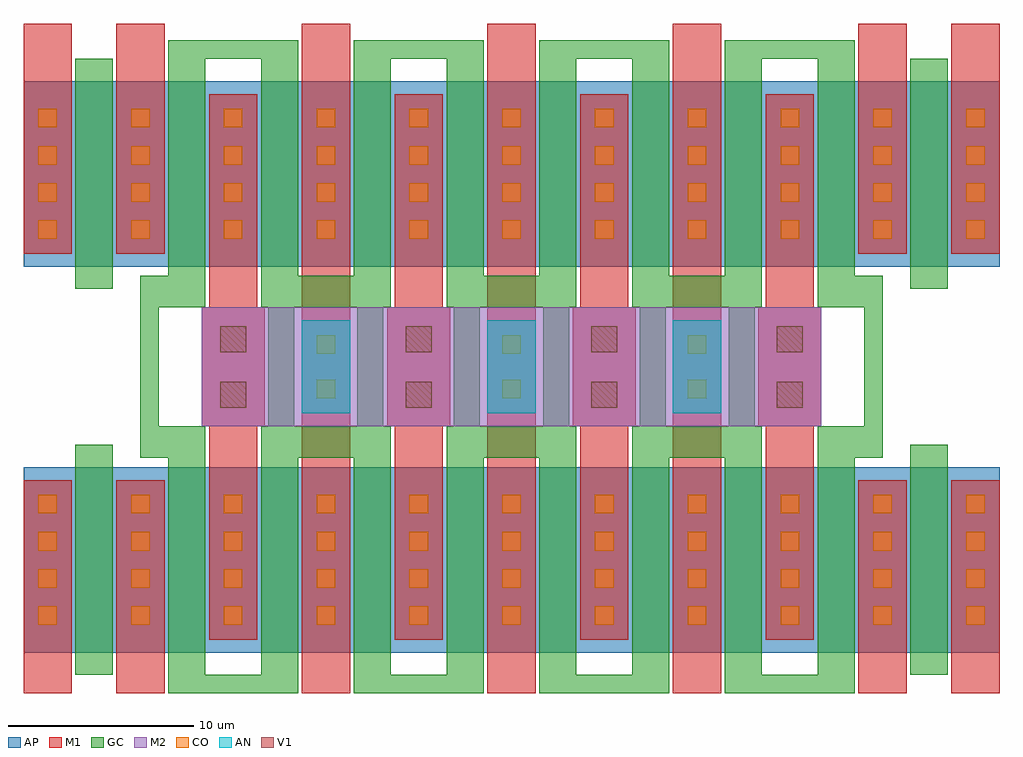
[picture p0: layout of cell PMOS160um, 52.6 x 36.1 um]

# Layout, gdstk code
import gdstk
lib = gdstk.Library(unit=1e-6, precision=1e-09)
def R(c, l, rs):  # rectangles x0, y0, x1, y1
    for r in rs: c.add(gdstk.rectangle(r[:2], r[2:], *l))
def A(c, l, x, y, w, h, nx, ny, dx, dy):  # array of equal rectangles
    R(c, l, [(x+i*dx, y+j*dy, x+i*dx+w, y+j*dy+h) for i in range(nx) for j in range(ny)])
AP = (3, 1)
AN = (3, 2)
GC = (8, 1)
CO = (11, 0)
M1 = (13, 0)
V1 = (19, 0)
M2 = (20, 0)

fet_p_2 = lib.new_cell('fet_p$2')
R(fet_p_2, AP, [(-3.8,-5,3.8,5)])
A(fet_p_2, CO, -3, -3.5, 1, 1, 1, 4, 0, 2)
A(fet_p_2, CO, 2, -3.5, 1, 1, 1, 4, 0, 2)
R(fet_p_2, M1, [(-3.8,-4.3,-1.2,4.3), (1.2,-4.3,3.8,4.3)])
fet_p_2.add(gdstk.FlexPath([(0,-6.2),(0,6.2)], 2, ends="flush", simple_path=True, layer=8, datatype=1))  # GC

fet_p_3 = lib.new_cell('fet_p$3')
R(fet_p_3, AP, [(-21.3,-5,21.3,5)])
A(fet_p_3, CO, -20.5, -3.5, 1, 1, 9, 4, 5, 2)
A(fet_p_3, M1, -21.3, -4.3, 2.6, 8.6, 9, 1, 5, 0)
fet_p_3.add(gdstk.FlexPath([(2.5,-6.2),(2.5,6.2)], 2, ends="flush", simple_path=True, layer=8, datatype=1))  # GC
fet_p_3.add(gdstk.FlexPath([(-2.5,-6.2),(-2.5,6.2)], 2, ends="flush", simple_path=True, layer=8, datatype=1))  # GC
fet_p_3.add(gdstk.FlexPath([(7.5,-6.2),(7.5,6.2)], 2, ends="flush", simple_path=True, layer=8, datatype=1))  # GC
fet_p_3.add(gdstk.FlexPath([(-7.5,-6.2),(-7.5,6.2)], 2, ends="flush", simple_path=True, layer=8, datatype=1))  # GC
fet_p_3.add(gdstk.FlexPath([(12.5,-6.2),(12.5,6.2)], 2, ends="flush", simple_path=True, layer=8, datatype=1))  # GC
fet_p_3.add(gdstk.FlexPath([(-12.5,-6.2),(-12.5,6.2)], 2, ends="flush", simple_path=True, layer=8, datatype=1))  # GC
fet_p_3.add(gdstk.FlexPath([(17.5,-6.2),(17.5,6.2)], 2, ends="flush", simple_path=True, layer=8, datatype=1))  # GC
fet_p_3.add(gdstk.FlexPath([(-17.5,-6.2),(-17.5,6.2)], 2, ends="flush", simple_path=True, layer=8, datatype=1))  # GC

via_1_1 = lib.new_cell('via_1$1')
R(via_1_1, M1, [(-1.7,-1.7,1.7,1.7)])
R(via_1_1, V1, [(-0.7,-0.7,0.7,0.7)])
R(via_1_1, M2, [(-1.7,-1.7,1.7,1.7)])

cont_n = lib.new_cell('cont_n')
R(cont_n, AN, [(-1.3,-1.3,1.3,1.3)])
R(cont_n, CO, [(-0.5,-0.5,0.5,0.5)])
R(cont_n, M1, [(-1.3,-1.3,1.3,1.3)])

pmos160um = lib.new_cell('PMOS160um')
A(pmos160um, GC, -38.5, -17.6, 7, 1, 4, 2, 10, 34.2)
A(pmos160um, GC, -33.5, -4.9, 7, 1.7, 3, 2, 10, 8.1)
R(pmos160um, GC, [(-40,-4.9,-36.5,-3.2), (-3.5,-4.9,0,-3.2), (-40,3.2,-36.5,4.9), (-3.5,3.2,0,4.9)])
pmos160um.add(gdstk.FlexPath([(0,-17.6),(0,-14.7)], 2.6, ends="flush", simple_path=True, layer=13, datatype=0))  # M1
pmos160um.add(gdstk.FlexPath([(5,-17.6),(5,-14.7)], 2.6, ends="flush", simple_path=True, layer=13, datatype=0))  # M1
pmos160um.add(gdstk.FlexPath([(0,18.5),(0,14.7)], 2.6, ends="flush", simple_path=True, layer=13, datatype=0))  # M1
pmos160um.add(gdstk.FlexPath([(5,14.7),(5,18.5)], 2.6, ends="flush", simple_path=True, layer=13, datatype=0))  # M1
pmos160um.add(gdstk.FlexPath([(-10,-17.6),(-10,-14.7)], 2.6, ends="flush", simple_path=True, layer=13, datatype=0))  # M1
pmos160um.add(gdstk.FlexPath([(-30,-17.6),(-30,-14.7)], 2.6, ends="flush", simple_path=True, layer=13, datatype=0))  # M1
pmos160um.add(gdstk.FlexPath([(-20,-17.6),(-20,-14.7)], 2.6, ends="flush", simple_path=True, layer=13, datatype=0))  # M1
pmos160um.add(gdstk.FlexPath([(-45,-17.6),(-45,-14.7)], 2.6, ends="flush", simple_path=True, layer=13, datatype=0))  # M1
pmos160um.add(gdstk.FlexPath([(-40,-17.6),(-40,-14.7)], 2.6, ends="flush", simple_path=True, layer=13, datatype=0))  # M1
pmos160um.add(gdstk.FlexPath([(0,-17.6),(0,-14.7)], 2.6, ends="flush", simple_path=True, layer=13, datatype=0))  # M1
pmos160um.add(gdstk.FlexPath([(-10,-6.1),(-10,-2.5),(-10,-2.5)], 2.6, ends="flush", simple_path=True, layer=13, datatype=0))  # M1
pmos160um.add(gdstk.FlexPath([(-10,2.5),(-10,6.1)], 2.6, ends="flush", simple_path=True, layer=13, datatype=0))  # M1
pmos160um.add(gdstk.FlexPath([(-20,-6.1),(-20,-2.5),(-20,-2.5)], 2.6, ends="flush", simple_path=True, layer=13, datatype=0))  # M1
pmos160um.add(gdstk.FlexPath([(-20,2.5),(-20,6.1)], 2.6, ends="flush", simple_path=True, layer=13, datatype=0))  # M1
pmos160um.add(gdstk.FlexPath([(-30,-6.1),(-30,-2.5),(-30,-2.5)], 2.6, ends="flush", simple_path=True, layer=13, datatype=0))  # M1
pmos160um.add(gdstk.FlexPath([(-30,2.5),(-30,6.1)], 2.6, ends="flush", simple_path=True, layer=13, datatype=0))  # M1
pmos160um.add(gdstk.FlexPath([(-40,18.5),(-40,14.7)], 2.6, ends="flush", simple_path=True, layer=13, datatype=0))  # M1
pmos160um.add(gdstk.FlexPath([(-45,18.5),(-45,14.7)], 2.6, ends="flush", simple_path=True, layer=13, datatype=0))  # M1
pmos160um.add(gdstk.FlexPath([(-30,14.7),(-30,18.5)], 2.6, ends="flush", simple_path=True, layer=13, datatype=0))  # M1
pmos160um.add(gdstk.FlexPath([(-20,18.5),(-20,14.7)], 2.6, ends="flush", simple_path=True, layer=13, datatype=0))  # M1
pmos160um.add(gdstk.FlexPath([(-10,18.5),(-10,14.7)], 2.6, ends="flush", simple_path=True, layer=13, datatype=0))  # M1
pmos160um.add(gdstk.FlexPath([(0,14.7),(0,18.5)], 2.6, ends="flush", simple_path=True, layer=13, datatype=0))  # M1
pmos160um.add(gdstk.FlexPath([(-5,-6.1),(-5,-3.2)], 2.6, ends="flush", simple_path=True, layer=13, datatype=0))  # M1
pmos160um.add(gdstk.FlexPath([(-5,3.2),(-5,6.1)], 2.6, ends="flush", simple_path=True, layer=13, datatype=0))  # M1
pmos160um.add(gdstk.FlexPath([(-15,-6.1),(-15,-3.2)], 2.6, ends="flush", simple_path=True, layer=13, datatype=0))  # M1
pmos160um.add(gdstk.FlexPath([(-15,3.2),(-15,6.1)], 2.6, ends="flush", simple_path=True, layer=13, datatype=0))  # M1
pmos160um.add(gdstk.FlexPath([(-25,3.2),(-25,6.1)], 2.6, ends="flush", simple_path=True, layer=13, datatype=0))  # M1
pmos160um.add(gdstk.FlexPath([(-25,-6.1),(-25,-3.2)], 2.6, ends="flush", simple_path=True, layer=13, datatype=0))  # M1
pmos160um.add(gdstk.FlexPath([(-35,-6.1),(-35,-3.2)], 2.6, ends="flush", simple_path=True, layer=13, datatype=0))  # M1
pmos160um.add(gdstk.FlexPath([(-35,3.2),(-35,6.1)], 2.6, ends="flush", simple_path=True, layer=13, datatype=0))  # M1
pmos160um.add(gdstk.FlexPath([(-0.5,-3.2),(-0.5,3.2)], 1, ends="flush", simple_path=True, layer=8, datatype=1))  # GC
pmos160um.add(gdstk.FlexPath([(-39.5,-3.2),(-39.5,3.2)], 1, ends="flush", simple_path=True, layer=8, datatype=1))  # GC
pmos160um.add(gdstk.FlexPath([(-12.4,-3.2),(-12.4,3.2),(-12.4,3.2)], 1.4, ends="flush", simple_path=True, layer=8, datatype=1))  # GC
pmos160um.add(gdstk.FlexPath([(-7.6,-3.2),(-7.6,3.2),(-7.6,3.2)], 1.4, ends="flush", simple_path=True, layer=8, datatype=1))  # GC
pmos160um.add(gdstk.FlexPath([(-22.4,-3.2),(-22.4,3.2),(-22.4,3.2)], 1.4, ends="flush", simple_path=True, layer=8, datatype=1))  # GC
pmos160um.add(gdstk.FlexPath([(-17.6,-3.2),(-17.6,3.2),(-17.6,3.2)], 1.4, ends="flush", simple_path=True, layer=8, datatype=1))  # GC
pmos160um.add(gdstk.FlexPath([(-32.4,-3.2),(-32.4,3.2),(-32.4,3.2)], 1.4, ends="flush", simple_path=True, layer=8, datatype=1))  # GC
pmos160um.add(gdstk.FlexPath([(-27.6,-3.2),(-27.6,3.2),(-27.6,3.2)], 1.4, ends="flush", simple_path=True, layer=8, datatype=1))  # GC
pmos160um.add(gdstk.FlexPath([(-3.3,0),(-36.7,0)], 6.4, ends="flush", simple_path=True, layer=20, datatype=0))  # M2
pmos160um.add(gdstk.Reference(fet_p_2, (-42.5,10.4)))
pmos160um.add(gdstk.Reference(fet_p_2, (2.5,10.4)))
pmos160um.add(gdstk.Reference(fet_p_3, (-20,10.4)))
pmos160um.add(gdstk.Reference(fet_p_2, (-42.5,-10.4), x_reflection=True))
pmos160um.add(gdstk.Reference(fet_p_2, (2.5,-10.4), x_reflection=True))
r = gdstk.Reference(via_1_1, (-35,1.5), x_reflection=True); r.repetition = gdstk.Repetition(4, 2, v1=(10,0), v2=(0,-3)); pmos160um.add(r)
pmos160um.add(gdstk.Reference(fet_p_3, (-20,-10.4), x_reflection=True))
r = gdstk.Reference(cont_n, (-10,-1.2)); r.repetition = gdstk.Repetition(1, 2, v1=(0,0), v2=(0,2.4)); pmos160um.add(r)
r = gdstk.Reference(cont_n, (-20,-1.2)); r.repetition = gdstk.Repetition(1, 2, v1=(0,0), v2=(0,2.4)); pmos160um.add(r)
r = gdstk.Reference(cont_n, (-30,-1.2)); r.repetition = gdstk.Repetition(1, 2, v1=(0,0), v2=(0,2.4)); pmos160um.add(r)

lib.write_gds('PMOS160um.gds')
